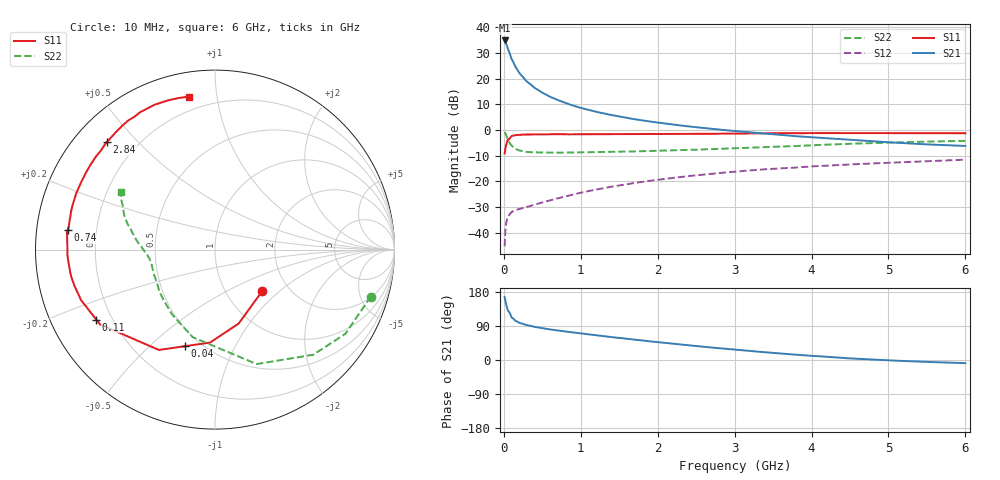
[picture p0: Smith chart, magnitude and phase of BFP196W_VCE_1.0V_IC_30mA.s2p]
! Infineon Technologies  Discrete & RF Semiconductors
! BFP196W
! VCE = 1.0 V,  IC =  30mA
! Common Emitter S-Parameters:  Jan 2016
# GHz  S  MA  R  50
!  f  S11  S21  S12  S22
! GHz  MAG  ANG  MAG  ANG  MAG  ANG  MAG  ANG
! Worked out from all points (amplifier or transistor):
!   210 points, 10 MHz to 6 GHz, reference 50 ohm
!   highest |S21| = 34.8 dB at 10 MHz (marker M1)
!   |S21| within 3 dB of that: start of sweep to 50.15 MHz
!   unconditionally stable (mu >= 1): 715.9 MHz to 3.528 GHz; 3.672 GHz to 3.849 GHz
!   at 185 MHz: K = 0.44, MSG = 26.9 dB, |S12| = -30.9 dB
!   at 1.52 GHz: K = 1.14, MAG = 11.0 dB, |S12| = -21.5 dB
!   at 6 GHz: K = 0.99, MSG = 2.7 dB, |S12| = -11.6 dB
!   S11 on the Smith chart (normalised r, x): 10 MHz: 1.47, -0.78; 40 MHz: 0.41, -0.65; 110 MHz: 0.14, -0.27; 740 MHz: 0.09, +0.06; 2.84 GHz: 0.09, +0.41; 6 GHz: 0.12, +0.84
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0.01  0.3502 -41.5  55.25 166.4  0.0055 76.1  0.9064 -16.8
0.02  0.4321 -72.1  52.86 156.2  0.0109 67.6  0.8649 -32.8
0.03  0.519 -93.1  48.54 146.5  0.0153 60.1  0.802 -46.9
0.04  0.5649 -107.5  43.48 139.8  0.0178 53.2  0.7255 -57.5
0.05  0.6405 -119.2  39.16 131.5  0.0205 48.0  0.6787 -70.0
0.1  0.7644 -147.0  24.24 112.7  0.0254 34.9  0.5034 -104.3
0.11  0.7681 -149.5  22.76 111.3  0.0259 34.3  0.4852 -107.7
0.15  0.7974 -159.3  17.01 103.4  0.0278 31.9  0.4327 -123.7
0.165  0.7998 -161.2  15.78 102.1  0.0281 32.0  0.4214 -127.1
0.2  0.8088 -165.6  12.95 98.3  0.0289 32.3  0.4013 -135.6
0.24  0.8143 -169.0  10.99 95.5  0.0301 33.8  0.3895 -141.6
0.3  0.8177 -172.9  8.74 92.0  0.032 36.2  0.3747 -149.0
0.4  0.8226 -177.6  6.607 87.4  0.0353 39.6  0.3682 -156.1
0.5  0.8232 178.8  5.316 83.8  0.0389 43.3  0.3651 -160.9
0.74  0.8281 172.5  3.643 76.9  0.0486 49.9  0.3629 -167.2
1.02  0.8268 166.8  2.644 69.6  0.0611 53.6  0.3678 -171.3
2.02  0.8375 148.6  1.384 46.8  0.1087 54.3  0.3943 -179.1
2.84  0.8498 135.2  1.007 30.4  0.1475 48.9  0.4322 174.5
3.1  0.8542 131.2  0.928 25.7  0.1592 46.7  0.4472 172.0
4.1  0.8717 117.4  0.707 9.8  0.1993 38.5  0.5123 163.0
5.1  0.8706 106.7  0.567 -1.8  0.2338 30.4  0.5723 154.1
6  0.8647 99.5  0.49 -8.3  0.2644 24.0  0.615 148.6
